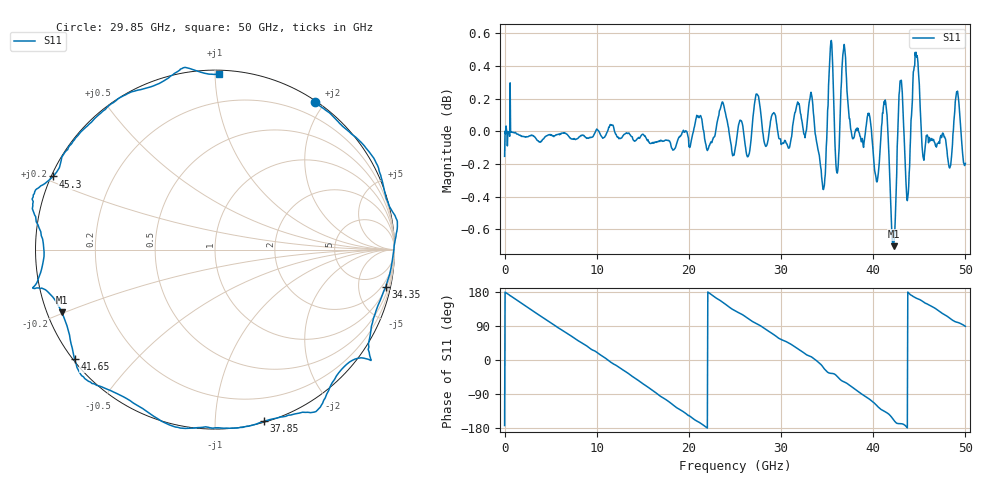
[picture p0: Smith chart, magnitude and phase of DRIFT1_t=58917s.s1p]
!Created with skrf (http://scikit-rf.org).
# Hz S RI R 50.0
!freq ReS11 ImS11
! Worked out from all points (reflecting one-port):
!   1001 points, 300 kHz to 50 GHz, reference 50 ohm
!   lowest |S11| = -0.7 dB at 42.2 GHz (marker M1), VSWR 24.70, Z = 2.1 - j9.82 ohm
!   phase of S11 starts at -173 deg and turns -818 deg over the sweep
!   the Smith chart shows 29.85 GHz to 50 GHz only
!   S11 on the Smith chart (normalised r, x): 29.85 GHz: 0.01, +1.88; 34.35 GHz: 1.13, -9.00; 37.85 GHz: 0.01, -1.33; 41.65 GHz: 0.00, -0.34; 45.3 GHz: 0.01, +0.22; 50 GHz: 0.02, +1.02
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300000  -0.9752 -0.1202
1.450291e9  -0.9126 0.4041
3.25028e9  -0.5927 0.8006
6.250262e9  0.1996 0.9786
9.500243e9  0.8896 0.448
1.250022e10  0.9314 -0.3499
1.580021e10  0.2416 -0.9616
1.73502e10  -0.2097 -0.9712
1.875019e10  -0.5975 -0.7933
2.155017e10  -0.9903 -0.1472
2.345016e10  -0.9296 0.4128
2.500015e10  -0.6314 0.7587
2.745014e10  -0.0855 1.022
2.985012e10  0.5566 0.8244
3.125011e10  0.7838 0.6267
3.31501e10  1.009 0.1732
3.435009e10  0.9501 -0.2104
3.520009e10  0.8609 -0.5845
3.750008e10  0.3791 -0.9314
3.785007e10  0.2735 -0.9571
3.960006e10  -0.2368 -0.9829
4.165005e10  -0.7821 -0.6098
4.220005e10  -0.8534 -0.3494
4.290004e10  -1.012 -0.2161
4.375004e10  -0.9547 0.0114
4.530003e10  -0.9011 0.4078
4.770001e10  -0.4993 0.8617
5e10  0.0201 0.9775
